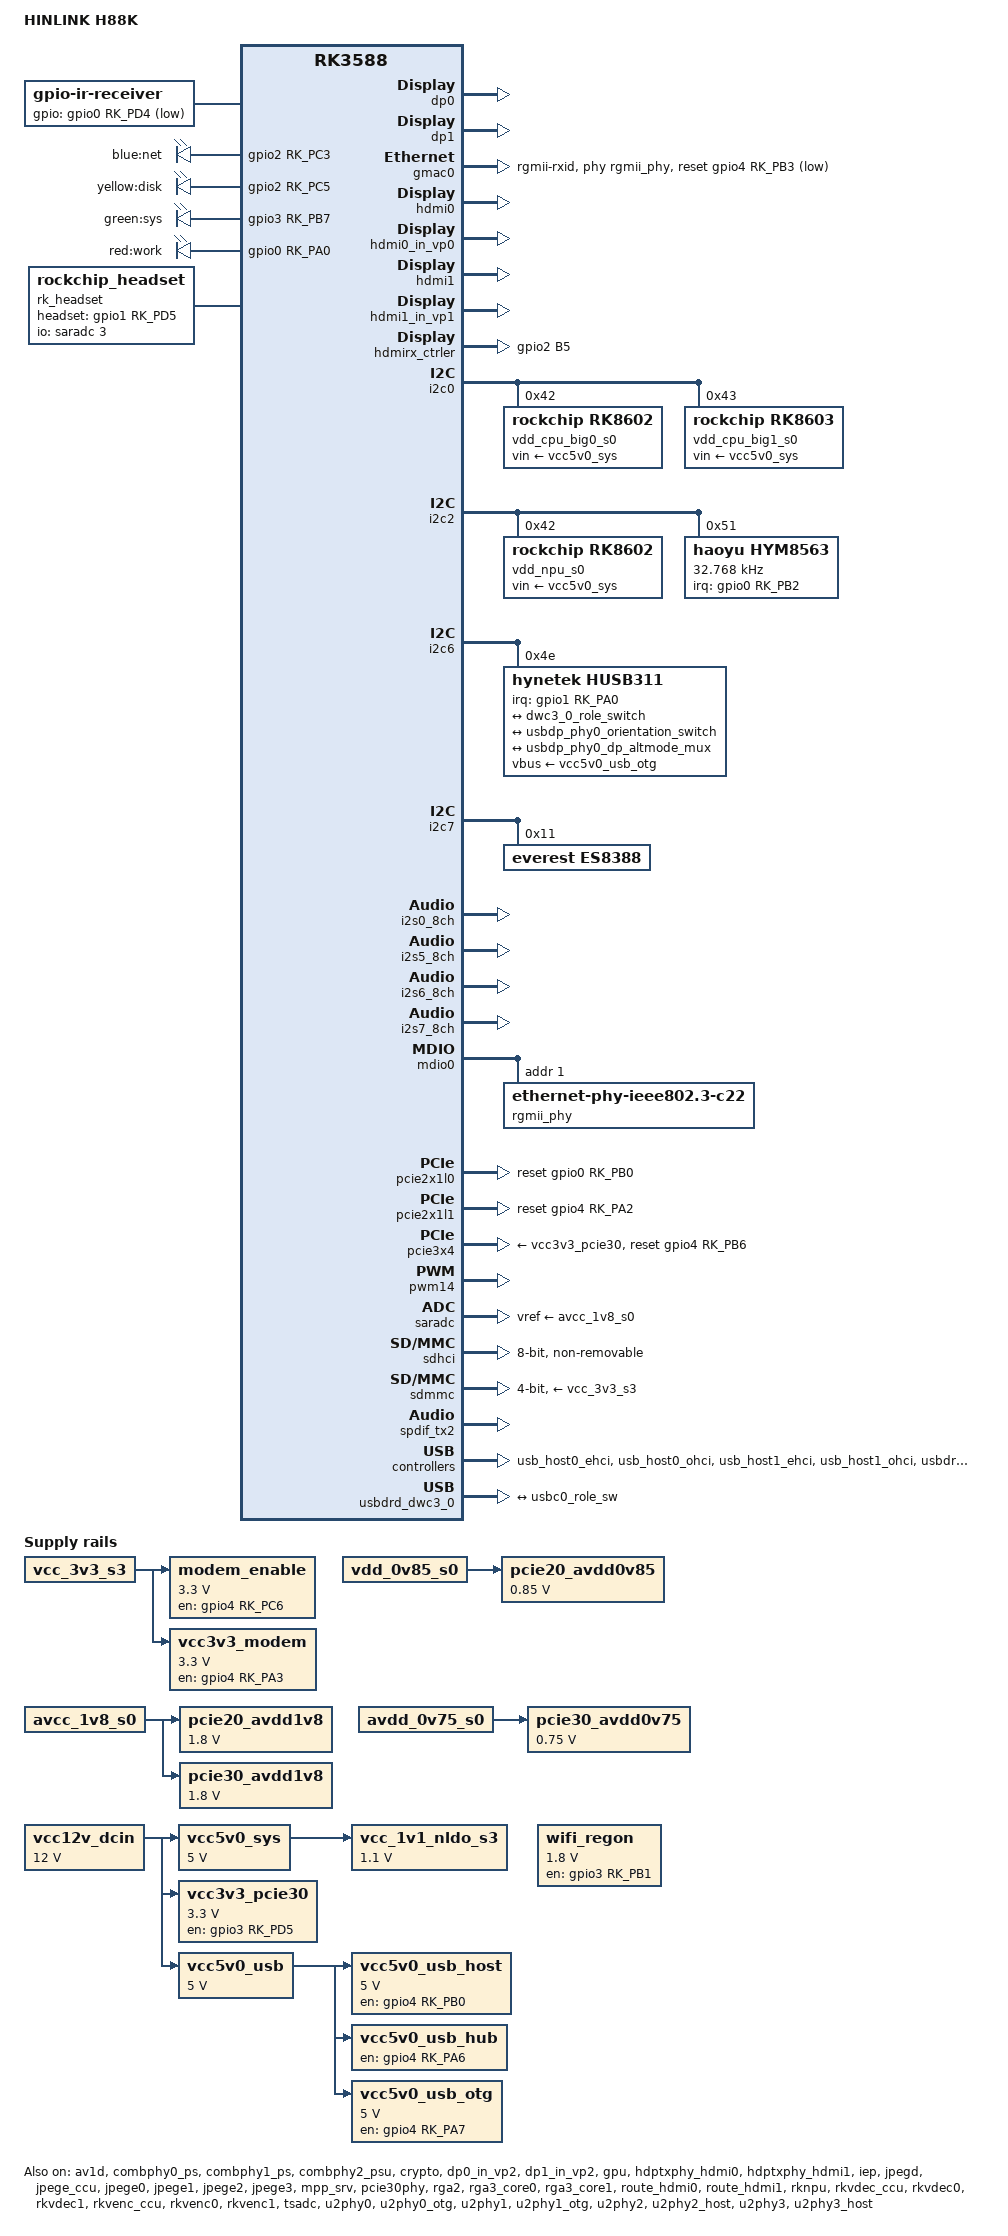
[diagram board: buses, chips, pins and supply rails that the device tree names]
// SPDX-License-Identifier: (GPL-2.0+ OR MIT)
/*
 * Copyright (c) 2022 Rockchip Electronics Co., Ltd.
 *
 */

#include <dt-bindings/gpio/gpio.h>
#include <dt-bindings/leds/common.h>
#include <dt-bindings/pwm/pwm.h>
#include <dt-bindings/pinctrl/rockchip.h>
#include <dt-bindings/input/rk-input.h>
#include <dt-bindings/display/drm_mipi_dsi.h>
#include <dt-bindings/display/rockchip_vop.h>
#include <dt-bindings/sensor-dev.h>
#include "dt-bindings/usb/pd.h"
#include "rk3588.dtsi"
#include "rk3588-rk806-single.dtsi"
#include "rk3588-linux.dtsi"

/ {
	model = "HINLINK H88K";
	compatible = "hinlink,h88k", "rockchip,rk3588";

	aliases {
		led-boot = &led_green;
		led-failsafe = &led_green;
		led-running = &led_green;
		led-upgrade = &led_red;
	};

	dp0_sound: dp0-sound {
		compatible = "rockchip,hdmi";
		rockchip,card-name= "rockchip,dp0";
		rockchip,mclk-fs = <512>;
		rockchip,cpu = <&spdif_tx2>;
		rockchip,codec = <&dp0 1>;
		rockchip,jack-det;
	};

	es8388-sound {
		compatible = "simple-audio-card";
		simple-audio-card,format = "i2s";
		simple-audio-card,mclk-fs = <256>;
		simple-audio-card,name = "rockchip-es8316";
		simple-audio-card,dai-link@0 {
			format = "i2s";
			cpu {
				sound-dai = <&i2s0_8ch>;
			};
			codec {
				sound-dai = <&es8388>;
			};
		};
	};

	hdmi0-sound {
		compatible = "rockchip,hdmi";
		rockchip,mclk-fs = <128>;
		rockchip,card-name = "rockchip-hdmi0";
		rockchip,cpu = <&i2s5_8ch>;
		rockchip,codec = <&hdmi0>;
		rockchip,jack-det;
	};

	hdmi1-sound {
		compatible = "rockchip,hdmi";
		rockchip,mclk-fs = <128>;
		rockchip,card-name = "rockchip-hdmi1";
		rockchip,cpu = <&i2s6_8ch>;
		rockchip,codec = <&hdmi1>;
		rockchip,jack-det;
	};

	hdmiin_dc: hdmiin-dc {
		compatible = "rockchip,dummy-codec";
		#sound-dai-cells = <0>;
	};

	hdmiin-sound {
		compatible = "simple-audio-card";
		simple-audio-card,format = "i2s";
		simple-audio-card,name = "rockchip,hdmiin";
		simple-audio-card,bitclock-master = <&dailink0_master>;
		simple-audio-card,frame-master = <&dailink0_master>;

		simple-audio-card,cpu {
			sound-dai = <&i2s7_8ch>;
		};
		dailink0_master: simple-audio-card,codec {
			sound-dai = <&hdmiin_dc>;
		};
	};

	ir-receiver {
		compatible = "gpio-ir-receiver";
		gpios = <&gpio0 RK_PD4 GPIO_ACTIVE_LOW>;
		pinctrl-0 = <&ir_int_pin>;
		pinctrl-names = "default";
	};

	leds {
		compatible = "gpio-leds";
		pinctrl-names = "default";
		pinctrl-0 = <&led_net_en>, <&led_sata_en>,
			    <&led_user_en>, <&led_work_en>;

		net {
			label = "blue:net";
			gpios = <&gpio2 RK_PC3 GPIO_ACTIVE_HIGH>;
		};

		disk {
			label = "yellow:disk";
			gpios = <&gpio2 RK_PC5 GPIO_ACTIVE_HIGH>;
		};

		led_green: sys {
			label = "green:sys";
			gpios = <&gpio3 RK_PB7 GPIO_ACTIVE_HIGH>;
			linux,default-trigger = "heartbeat";
		};

		led_red: work {
			label = "red:work";
			gpios = <&gpio0 RK_PA0 GPIO_ACTIVE_HIGH>;
		};
	};

	/* it's modem reset pin */
	modem_enable: modem-enable {
		compatible = "regulator-fixed";
		enable-active-high;
		regulator-always-on;
		regulator-boot-on;
		gpios = <&gpio4 RK_PC6 GPIO_ACTIVE_HIGH>;
		regulator-min-microvolt = <3300000>;
		regulator-max-microvolt = <3300000>;
		regulator-name = "modem-enable";
		vin-supply = <&vcc_3v3_s3>;
		startup-delay-us = <2000000>;
		pinctrl-names = "default";
		pintctrl-0 = <&modem_reset_en>;
	};

	pcie20_avdd0v85: pcie20-avdd0v85 {
		compatible = "regulator-fixed";
		regulator-always-on;
		regulator-boot-on;
		regulator-min-microvolt = <850000>;
		regulator-max-microvolt = <850000>;
		regulator-name = "pcie20_avdd0v85";
		vin-supply = <&vdd_0v85_s0>;
	};

	pcie20_avdd1v8: pcie20-avdd1v8 {
		compatible = "regulator-fixed";
		regulator-always-on;
		regulator-boot-on;
		regulator-min-microvolt = <1800000>;
		regulator-max-microvolt = <1800000>;
		regulator-name = "pcie20_avdd1v8";
		vin-supply = <&avcc_1v8_s0>;
	};

	pcie30_avdd0v75: pcie30-avdd0v75 {
		compatible = "regulator-fixed";
		regulator-always-on;
		regulator-boot-on;
		regulator-min-microvolt = <750000>;
		regulator-max-microvolt = <750000>;
		regulator-name = "pcie30_avdd0v75";
		vin-supply = <&avdd_0v75_s0>;
	};

	pcie30_avdd1v8: pcie30-avdd1v8 {
		compatible = "regulator-fixed";
		regulator-always-on;
		regulator-boot-on;
		regulator-min-microvolt = <1800000>;
		regulator-max-microvolt = <1800000>;
		regulator-name = "pcie30_avdd1v8";
		vin-supply = <&avcc_1v8_s0>;
	};

	rk_headset: rk-headset {
		compatible = "rockchip_headset";
		headset_gpio = <&gpio1 RK_PD5 GPIO_ACTIVE_HIGH>;
		pinctrl-names = "default";
		pinctrl-0 = <&hp_det>;
		io-channels = <&saradc 3>;
	};

	vcc12v_dcin: vcc12v-dcin {
		compatible = "regulator-fixed";
		regulator-always-on;
		regulator-boot-on;
		regulator-min-microvolt = <12000000>;
		regulator-max-microvolt = <12000000>;
		regulator-name = "vcc12v_dcin";
	};

	vcc5v0_sys: vcc5v0-sys {
		compatible = "regulator-fixed";
		regulator-always-on;
		regulator-boot-on;
		regulator-min-microvolt = <5000000>;
		regulator-max-microvolt = <5000000>;
		regulator-name = "vcc5v0_sys";
		vin-supply = <&vcc12v_dcin>;
	};

	vcc_1v1_nldo_s3: vcc-1v1-nldo-s3 {
		compatible = "regulator-fixed";
		regulator-always-on;
		regulator-boot-on;
		regulator-min-microvolt = <1100000>;
		regulator-max-microvolt = <1100000>;
		regulator-name = "vcc_1v1_nldo_s3";
		vin-supply = <&vcc5v0_sys>;
	};

	vcc3v3_pcie30: vcc3v3-pcie30 {
		compatible = "regulator-fixed";
		enable-active-high;
		gpios = <&gpio3 RK_PD5 GPIO_ACTIVE_HIGH>;
		regulator-min-microvolt = <3300000>;
		regulator-max-microvolt = <3300000>;
		regulator-name = "vcc3v3_pcie30";
		startup-delay-us = <5000>;
		vin-supply = <&vcc12v_dcin>;
	};

	vcc3v3_modem: vcc3v3-modem {
		compatible = "regulator-fixed";
		enable-active-high;
		regulator-always-on;
		regulator-boot-on;
		gpios = <&gpio4 RK_PA3 GPIO_ACTIVE_HIGH>;
		regulator-min-microvolt = <3300000>;
		regulator-max-microvolt = <3300000>;
		regulator-name = "vcc3v3_modem";
		pinctrl-names = "default";
		pintctrl-0 = <&modem_power_en>;
		vin-supply = <&vcc_3v3_s3>;
	};

	vcc5v0_usb: vcc5v0-usb {
		compatible = "regulator-fixed";
		regulator-always-on;
		regulator-boot-on;
		regulator-min-microvolt = <5000000>;
		regulator-max-microvolt = <5000000>;
		regulator-name = "vcc5v0_usb";
		vin-supply = <&vcc12v_dcin>;
	};

	vcc5v0_usb_host: vcc5v0-usb-host {
		compatible = "regulator-fixed";
		enable-active-high;
		gpio = <&gpio4 RK_PB0 GPIO_ACTIVE_HIGH>;
		pinctrl-names = "default";
		pinctrl-0 = <&vcc5v0_usb_host_en>;
		regulator-min-microvolt = <5000000>;
		regulator-max-microvolt = <5000000>;
		regulator-name = "vcc5v0_usb_host";
		vin-supply = <&vcc5v0_usb>;
	};

	vcc5v0_usb_hub: vcc5v0-usb-hub {
		compatible = "regulator-fixed";
		enable-active-high;
		gpio = <&gpio4 RK_PA6 GPIO_ACTIVE_HIGH>;
		pinctrl-names = "default";
		pinctrl-0 = <&vcc5v0_usb_hub_en>;
		regulator-name = "vcc5v0_usb_hub";
		regulator-always-on;
		vin-supply = <&vcc5v0_usb>;
	};

	vcc5v0_usb_otg: vcc5v0-usb-otg {
		compatible = "regulator-fixed";
		enable-active-high;
		gpio = <&gpio4 RK_PA7 GPIO_ACTIVE_HIGH>;
		pinctrl-names = "default";
		pinctrl-0 = <&vcc5v0_usb_otg_en>;
		regulator-min-microvolt = <5000000>;
		regulator-max-microvolt = <5000000>;
		regulator-name = "vcc5v0_usb_otg";
		vin-supply = <&vcc5v0_usb>;
	};

	wifi_regon: wifi-regon {
		compatible = "regulator-fixed";
		enable-active-high;
		gpio = <&gpio3 RK_PB1 GPIO_ACTIVE_HIGH>;
		regulator-boot-on;
		regulator-always-on;
		regulator-min-microvolt = <1800000>;
		regulator-max-microvolt = <1800000>;
		regulator-name = "wifi_regon";
		startup-delay-us = <5000>;
	};
};

&av1d {
	status = "okay";
};

&av1d_mmu {
	status = "okay";
};

&combphy0_ps {
	status = "okay";
};

&combphy1_ps {
	status = "okay";
};

&combphy2_psu {
	status = "okay";
};

&cpu_l0 {
	cpu-supply = <&vdd_cpu_lit_s0>;
	mem-supply = <&vdd_cpu_lit_s0>;
};

&cpu_b0 {
	cpu-supply = <&vdd_cpu_big0_s0>;
	mem-supply = <&vdd_cpu_big0_s0>;
};

&cpu_b2 {
	cpu-supply = <&vdd_cpu_big1_s0>;
	mem-supply = <&vdd_cpu_big1_s0>;
};

&crypto {
	status = "okay";
};

&dp0 {
	status = "okay";
};

&dp0_in_vp2 {
	status = "okay";
};

&dp1 {
	status = "okay";
};

&dp1_in_vp2 {
	status = "okay";
};

&gpu {
	mali-supply = <&vdd_gpu_s0>;
	mem-supply = <&vdd_gpu_mem_s0>;
	status = "okay";
};

&gmac0 {
	phy-mode = "rgmii-rxid";
	clock_in_out = "output";

	snps,reset-gpio = <&gpio4 RK_PB3 GPIO_ACTIVE_LOW>;
	snps,reset-active-low;
	/* Reset time is 20ms, 100ms for rtl8211f */
	snps,reset-delays-us = <0 20000 100000>;

	phy-handle = <&rgmii_phy>;
	pinctrl-names = "default";
	pinctrl-0 = <&gmac0_miim
		     &gmac0_tx_bus2
		     &gmac0_rx_bus2
		     &gmac0_rgmii_clk
		     &gmac0_rgmii_bus>;

	tx_delay = <0x44>;
	status = "okay";
};

&hdmi0 {
	enable-gpios = <&gpio4 RK_PB1 GPIO_ACTIVE_HIGH>;
	status = "okay";
};

&hdmi0_in_vp0 {
	status = "okay";
};

&hdmi1 {
	enable-gpios = <&gpio4 RK_PB2 GPIO_ACTIVE_HIGH>;
	status = "okay";
};

&hdmi1_in_vp1 {
	status = "okay";
};

&hdmirx_ctrler {
	status = "okay";

	/* Effective level used to trigger HPD: 0-low, 1-high */
	hpd-trigger-level = <1>;
	hdmirx-det-gpios = <&gpio2 RK_PB5 GPIO_ACTIVE_LOW>;

	pinctrl-0 = <&hdmim1_rx_cec &hdmim1_rx_hpdin &hdmim1_rx_scl &hdmim1_rx_sda &hdmirx_det>;
	pinctrl-names = "default";
};

&hdptxphy_hdmi0 {
	status = "okay";
};

&hdptxphy_hdmi1 {
	status = "okay";
};

&i2c0 {
	pinctrl-names = "default";
	pinctrl-0 = <&i2c0m2_xfer>;
	status = "okay";

	vdd_cpu_big0_s0: rk8602@42 {
		compatible = "rockchip,rk8602";
		reg = <0x42>;
		regulator-always-on;
		regulator-boot-on;
		regulator-compatible = "rk860x-reg";
		regulator-min-microvolt = <550000>;
		regulator-max-microvolt = <1100000>;
		regulator-name = "vdd_cpu_big0_s0";
		regulator-ramp-delay = <2300>;
		rockchip,suspend-voltage-selector = <1>;
		vin-supply = <&vcc5v0_sys>;

		regulator-state-mem {
			regulator-off-in-suspend;
		};
	};

	vdd_cpu_big1_s0: rk8603@43 {
		compatible = "rockchip,rk8603";
		reg = <0x43>;
		regulator-always-on;
		regulator-boot-on;
		regulator-compatible = "rk860x-reg";
		regulator-min-microvolt = <550000>;
		regulator-max-microvolt = <1100000>;
		regulator-name = "vdd_cpu_big1_s0";
		regulator-ramp-delay = <2300>;
		rockchip,suspend-voltage-selector = <1>;
		vin-supply = <&vcc5v0_sys>;

		regulator-state-mem {
			regulator-off-in-suspend;
		};
	};
};

&i2c2 {
	status = "okay";

	vdd_npu_s0: rk8602@42 {
		compatible = "rockchip,rk8602";
		reg = <0x42>;
		regulator-always-on;
		regulator-boot-on;
		regulator-compatible = "rk860x-reg";
		regulator-min-microvolt = <550000>;
		regulator-max-microvolt = <950000>;
		regulator-name = "vdd_npu_s0";
		regulator-ramp-delay = <2300>;
		rockchip,suspend-voltage-selector = <1>;
		vin-supply = <&vcc5v0_sys>;

		regulator-state-mem {
			regulator-off-in-suspend;
		};
	};

	hym8563: hym8563@51 {
		compatible = "haoyu,hym8563";
		reg = <0x51>;
		#clock-cells = <0>;
		clock-frequency = <32768>;
		clock-output-names = "hym8563";
		interrupt-parent = <&gpio0>;
		interrupts = <RK_PB2 IRQ_TYPE_LEVEL_LOW>;
		pinctrl-names = "default";
		pinctrl-0 = <&rtc_int>;
		wakeup-source;
	};
};

&i2c6 {
	status = "okay";

	husb311@4e {
		compatible = "hynetek,husb311";
		reg = <0x4e>;
		interrupt-parent = <&gpio1>;
		interrupts = <RK_PA0 IRQ_TYPE_LEVEL_LOW>;
		pinctrl-names = "default";
		pinctrl-0 = <&usbc0_int>;
		vbus-supply = <&vcc5v0_usb_otg>;

		ports {
			#address-cells = <1>;
			#size-cells = <0>;

			port@0 {
				reg = <0>;
				usbc0_role_sw: endpoint@0 {
					remote-endpoint = <&dwc3_0_role_switch>;
				};
			};
		};

		connector {
			compatible = "usb-c-connector";
			label = "USB-C";
			data-role = "dual";
			power-role = "dual";
			try-power-role = "sink";
			op-sink-microwatt = <1000000>;
			sink-pdos =
				<PDO_FIXED(5000, 1000, PDO_FIXED_USB_COMM)>;
			source-pdos =
				<PDO_FIXED(5000, 3000, PDO_FIXED_USB_COMM)>;

			altmodes {
				#address-cells = <1>;
				#size-cells = <0>;

				altmode@0 {
					reg = <0>;
					svid = <0xff01>;
					vdo = <0xffffffff>;
				};
			};

			ports {
				#address-cells = <1>;
				#size-cells = <0>;

				port@0 {
					reg = <0>;
					usbc0_orien_sw: endpoint {
						remote-endpoint = <&usbdp_phy0_orientation_switch>;
					};
				};

				port@1 {
					reg = <1>;
					dp_altmode_mux: endpoint {
						remote-endpoint = <&usbdp_phy0_dp_altmode_mux>;
					};
				};
			};
		};
	};
};

&i2c7 {
	status = "okay";

	es8388: es8388@11 {
		compatible = "everest,es8388", "everest,es8323";
		reg = <0x11>;
        assigned-clocks = <&mclkout_i2s0>;
		assigned-clock-rates = <12288000>;
		clocks = <&mclkout_i2s0>;
		clock-names = "mclk";
		pinctrl-names = "default";
		pinctrl-0 = <&i2s0_mclk>;
		#sound-dai-cells = <0>;
	};
};

&i2s0_8ch {
	pinctrl-0 = <&i2s0_lrck
		     &i2s0_sclk
		     &i2s0_sdi0
		     &i2s0_sdo0>;
	status = "okay";
};

&i2s5_8ch {
	status = "okay";
};

&i2s6_8ch {
	status = "okay";
};

&i2s7_8ch {
	status = "okay";
};

&iep {
	status = "okay";
};

&iep_mmu {
	status = "okay";
};

&jpegd {
	status = "okay";
};

&jpegd_mmu {
	status = "okay";
};

&jpege_ccu {
	status = "okay";
};

&jpege0 {
	status = "okay";
};

&jpege0_mmu {
	status = "okay";
};

&jpege1 {
	status = "okay";
};

&jpege1_mmu {
	status = "okay";
};

&jpege2 {
	status = "okay";
};

&jpege2_mmu {
	status = "okay";
};

&jpege3 {
	status = "okay";
};

&jpege3_mmu {
	status = "okay";
};

&mdio0 {
	rgmii_phy: phy@1 {
		compatible = "ethernet-phy-ieee802.3-c22";
		reg = <0x1>;
	};
};

&mpp_srv {
	status = "okay";
};

// combphy1_ps
&pcie2x1l0 {
	// wifi
	reset-gpios = <&gpio0 RK_PB0 GPIO_ACTIVE_HIGH>;
	status = "okay";
};

// combphy2_psu
&pcie2x1l1 {
	// rtl8125
	reset-gpios = <&gpio4 RK_PA2 GPIO_ACTIVE_HIGH>;
	status = "okay";
};

&pcie30phy {
	rockchip,pcie30-phymode = <PHY_MODE_PCIE_AGGREGATION>;
	status = "okay";
};

&pcie3x4 {
	reset-gpios = <&gpio4 RK_PB6 GPIO_ACTIVE_HIGH>;
	vpcie3v3-supply = <&vcc3v3_pcie30>;
	status = "okay";
};

&pinctrl {
	hdmirx {
		hdmirx_det: hdmirx-det {
			rockchip,pins = <2 RK_PB5 RK_FUNC_GPIO &pcfg_pull_none>;
		};
	};

	headphone {
		hp_det: hp-det {
			rockchip,pins = <1 RK_PD5 RK_FUNC_GPIO &pcfg_pull_none>;
		};
	};

	ir {
		ir_int_pin: ir-int-pin {
			rockchip,pins = <0 RK_PD4 RK_FUNC_GPIO &pcfg_pull_up>;
		};
	};

	leds {
		led_net_en: led_net_en {
			rockchip,pins = <2 RK_PC3 RK_FUNC_GPIO &pcfg_pull_none>;
		};

		led_sata_en: led_sata_en {
			rockchip,pins = <2 RK_PC5 RK_FUNC_GPIO &pcfg_pull_none>;
		};

		led_user_en: led_user_en {
			rockchip,pins = <3 RK_PB7 RK_FUNC_GPIO &pcfg_pull_none>;
		};

		led_work_en: led_work_en {
			rockchip,pins = <0 RK_PA0 RK_FUNC_GPIO &pcfg_pull_none>;
		};
	};

	modem {
		modem_power_en: modem-power-en {
			rockchip,pins = <4 RK_PA3 RK_FUNC_GPIO &pcfg_pull_none>;
		};

		modem_reset_en: modem-reset-en {
			rockchip,pins = <4 RK_PC6 RK_FUNC_GPIO &pcfg_pull_none>;
		};
	};

	rtc {
		rtc_int: rtc-int {
			rockchip,pins = <0 RK_PB2 RK_FUNC_GPIO &pcfg_pull_up>;
		};
	};

	usb {
		vcc5v0_usb_host_en: vcc5v0_usb_host_en {
			rockchip,pins = <4 RK_PB0 RK_FUNC_GPIO &pcfg_pull_none>;
		};

		vcc5v0_usb_hub_en: vcc5v0_usb_hub_en {
			rockchip,pins = <4 RK_PA6 RK_FUNC_GPIO &pcfg_pull_none>;
		};

		vcc5v0_usb_otg_en: vcc5v0_usb_otg_en {
			rockchip,pins = <4 RK_PA7 RK_FUNC_GPIO &pcfg_pull_none>;
		};
	};

	usb-typec {
		usbc0_int: usbc0-int {
			rockchip,pins = <1 RK_PA0 RK_FUNC_GPIO &pcfg_pull_up>;
		};
	};
};

&pwm14 {
	status = "okay";
};

&rga2 {
	status = "okay";
};

&rga3_core0 {
	status = "okay";
};

&rga3_0_mmu {
	status = "okay";
};

&rga3_core1 {
	status = "okay";
};

&rga3_1_mmu {
	status = "okay";
};

&route_hdmi0 {
	status = "okay";
};

&route_hdmi1 {
	status = "okay";
};

&rknpu {
	rknpu-supply = <&vdd_npu_s0>;
	mem-supply = <&vdd_npu_s0>;
	status = "okay";
};

&rknpu_mmu {
	status = "okay";
};

&rkvdec_ccu {
	status = "okay";
};

&rkvdec0 {
	status = "okay";
};

&rkvdec0_mmu {
	status = "okay";
};

&rkvdec1 {
	status = "okay";
};

&rkvdec1_mmu {
	status = "okay";
};

&rkvenc_ccu {
	status = "okay";
};

&rkvenc0 {
	venc-supply = <&vdd_vdenc_s0>;
	mem-supply = <&vdd_vdenc_mem_s0>;
	status = "okay";
};

&rkvenc0_mmu {
	status = "okay";
};

&rkvenc1 {
	venc-supply = <&vdd_vdenc_s0>;
	mem-supply = <&vdd_vdenc_mem_s0>;
	status = "okay";
};

&rkvenc1_mmu {
	status = "okay";
};

&rockchip_suspend {
	rockchip,sleep-debug-en = <1>;
	status = "okay";
};

&saradc {
	status = "okay";
	vref-supply = <&avcc_1v8_s0>;
};

&sdhci {
	bus-width = <8>;
	max-frequency = <200000000>;
	mmc-hs400-1_8v;
	mmc-hs400-enhanced-strobe;
	no-sd;
	no-sdio;
	non-removable;
	status = "okay";
};

&sdmmc {
	bus-width = <4>;
	cap-mmc-highspeed;
	cap-sd-highspeed;
	disable-wp;
	no-mmc;
	no-sdio;
	max-frequency = <50000000>;
	vmmc-supply = <&vcc_3v3_s3>;
	vqmmc-supply = <&vccio_sd_s0>;
	status = "okay";
};

&spdif_tx2 {
	status = "okay";
};

&tsadc {
	status = "okay";
};

&u2phy0 {
	status = "okay";
};

&u2phy0_otg {
	vbus-supply = <&vcc5v0_usb_otg>;
	status = "okay";
};

&u2phy1 {
	status = "okay";
};

&u2phy1_otg {
	phy-supply = <&vcc5v0_usb_host>;
	status = "okay";
};

&u2phy2 {
	status = "okay";
};

&u2phy2_host {
	status = "okay";
};

&u2phy3 {
	status = "okay";
};

&u2phy3_host {
	status = "okay";
};

&usb_host0_ehci {
	status = "okay";
};

&usb_host0_ohci {
	status = "okay";
};

&usb_host1_ehci {
	status = "okay";
};

&usb_host1_ohci {
	status = "okay";
};

&usbdp_phy0 {
	orientation-switch;
	rockchip,dp-lane-mux = < 0 1 2 3 >;
	sbu1-dc-gpios = <&gpio0 RK_PC6 GPIO_ACTIVE_HIGH>;
	sbu2-dc-gpios = <&gpio0 RK_PD3 GPIO_ACTIVE_HIGH>;
	svid = <0xff01>;
	status = "okay";

	port {
		#address-cells = <1>;
		#size-cells = <0>;
		usbdp_phy0_orientation_switch: endpoint@0 {
			reg = <0>;
			remote-endpoint = <&usbc0_orien_sw>;
		};

		usbdp_phy0_dp_altmode_mux: endpoint@1 {
			reg = <1>;
			remote-endpoint = <&dp_altmode_mux>;
		};
	};
};

&usbdp_phy0_dp {
	status = "okay";
};

&usbdp_phy0_u3 {
	status = "okay";
};

&usbdp_phy1 {
	status = "okay";
};

&usbdp_phy1_dp {
	status = "okay";
};

&usbdp_phy1_u3 {
	status = "okay";
};

&usbdrd3_0 {
	status = "okay";
};

&usbdrd_dwc3_0 {
	usb-role-switch;
	status = "okay";

	port {
		#address-cells = <1>;
		#size-cells = <0>;
		dwc3_0_role_switch: endpoint@0 {
			reg = <0>;
			remote-endpoint = <&usbc0_role_sw>;
		};
	};
};

&usbdrd3_1 {
	status = "okay";
};

&usbdrd_dwc3_1 {
	status = "okay";
};

&vdpu {
	status = "okay";
};

&vdpu_mmu {
	status = "okay";
};

&vop {
	status = "okay";
};

&vop_mmu {
	status = "okay";
};

/* vp0 & vp1 splice for 8K output */
&vp0 {
	rockchip,plane-mask = <(1 << ROCKCHIP_VOP2_CLUSTER0 | 1 << ROCKCHIP_VOP2_ESMART0)>;
	rockchip,primary-plane = <ROCKCHIP_VOP2_ESMART0>;
};

&vp1 {
	rockchip,plane-mask = <(1 << ROCKCHIP_VOP2_CLUSTER1 | 1 << ROCKCHIP_VOP2_ESMART1)>;
	rockchip,primary-plane = <ROCKCHIP_VOP2_ESMART1>;
};

&vp2 {
	rockchip,plane-mask = <(1 << ROCKCHIP_VOP2_CLUSTER2 | 1 << ROCKCHIP_VOP2_ESMART2)>;
	rockchip,primary-plane = <ROCKCHIP_VOP2_ESMART2>;
};

&vp3 {
	rockchip,plane-mask = <(1 << ROCKCHIP_VOP2_CLUSTER3 | 1 << ROCKCHIP_VOP2_ESMART3)>;
	rockchip,primary-plane = <ROCKCHIP_VOP2_ESMART3>;
};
